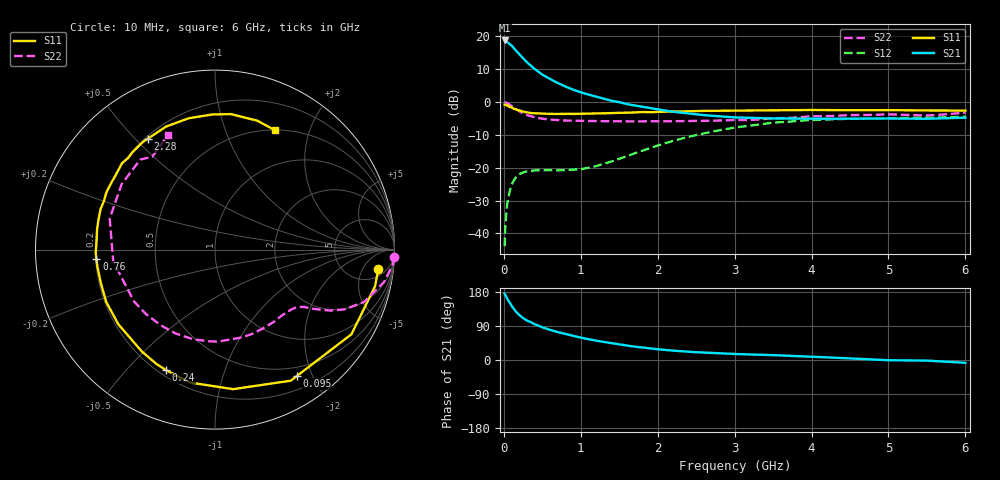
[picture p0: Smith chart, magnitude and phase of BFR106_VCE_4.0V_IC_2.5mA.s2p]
! Infineon Technologies  Discrete & RF Semiconductors
! BFR106
! VCE =  4.0 V,  IC =  2.5 mA
! Common Emitter S-Parameters:  Nov 2015
# GHz  S  MA  R  50
!  f  S11  S21  S12  S22
! GHz  MAG  ANG  MAG  ANG  MAG  ANG  MAG  ANG
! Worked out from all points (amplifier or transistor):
!   210 points, 10 MHz to 6 GHz, reference 50 ohm
!   highest |S21| = 18.8 dB at 10 MHz (marker M1)
!   |S21| within 3 dB of that: start of sweep to 154.9 MHz
!   unconditionally stable (mu >= 1): 743.9 MHz to 1.936 GHz; 4.095 GHz to end of sweep
!   at 185 MHz: K = 0.27, MSG = 18.7 dB, |S12| = -22.3 dB
!   at 1.52 GHz: K = 1.17, MAG = 6.0 dB, |S12| = -17.1 dB
!   at 6 GHz: K = 1.02, MAG = -1.0 dB, |S12| = -4.4 dB
!   S11 on the Smith chart (normalised r, x): 10 MHz: 8, -11; 95 MHz: 0.37, -1.78; 240 MHz: 0.23, -0.65; 760 MHz: 0.20, -0.04; 2.28 GHz: 0.21, +0.54; 6 GHz: 0.50, +1.50
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0.01  0.9166 -6.6  8.703 175.1  0.0064 88.0  0.9961 -2.4
0.02  0.9148 -12.9  8.64 171.8  0.013 82.2  0.995 -4.7
0.025  0.9047 -16.0  8.54 169.8  0.016 79.0  0.9883 -5.7
0.05  0.8947 -31.8  8.198 159.4  0.0312 72.3  0.9593 -10.8
0.095  0.8391 -57.1  7.372 145.0  0.0529 60.2  0.888 -18.4
0.1  0.8435 -60.0  7.312 143.2  0.0554 59.4  0.8811 -19.3
0.15  0.7841 -82.6  6.253 128.7  0.0701 48.1  0.7946 -24.8
0.2  0.7535 -100.6  5.392 119.0  0.0797 41.4  0.7284 -27.8
0.24  0.725 -112.0  4.787 112.3  0.0841 37.5  0.6822 -29.5
0.3  0.6989 -125.7  4.044 104.3  0.0883 33.6  0.6354 -31.2
0.4  0.6806 -142.3  3.202 94.4  0.0913 29.7  0.5861 -33.0
0.5  0.6726 -154.4  2.624 86.2  0.0919 28.7  0.5588 -34.9
0.58  0.663 -162.2  2.32 80.9  0.0921 29.5  0.5461 -36.9
0.76  0.6627 -175.7  1.818 70.7  0.0919 33.8  0.5277 -42.1
1.02  0.6671 169.2  1.389 58.3  0.0963 44.7  0.5188 -50.8
1.4  0.684 152.3  1.051 44.4  0.1244 60.6  0.5136 -65.9
2.02  0.7117 129.6  0.77 28.1  0.2219 66.8  0.5114 -94.9
2.28  0.7224 121.3  0.698 23.5  0.2724 64.1  0.5124 -108.3
3.1  0.7458 99.3  0.581 15.3  0.4237 47.8  0.5336 -152.8
4.1  0.7581 82.0  0.558 8.0  0.5391 25.2  0.6112 159.7
5.1  0.7538 71.0  0.563 -0.8  0.5728 8.2  0.646 128.6
6  0.7437 63.4  0.58 -7.4  0.6014 -3.0  0.6905 112.3
